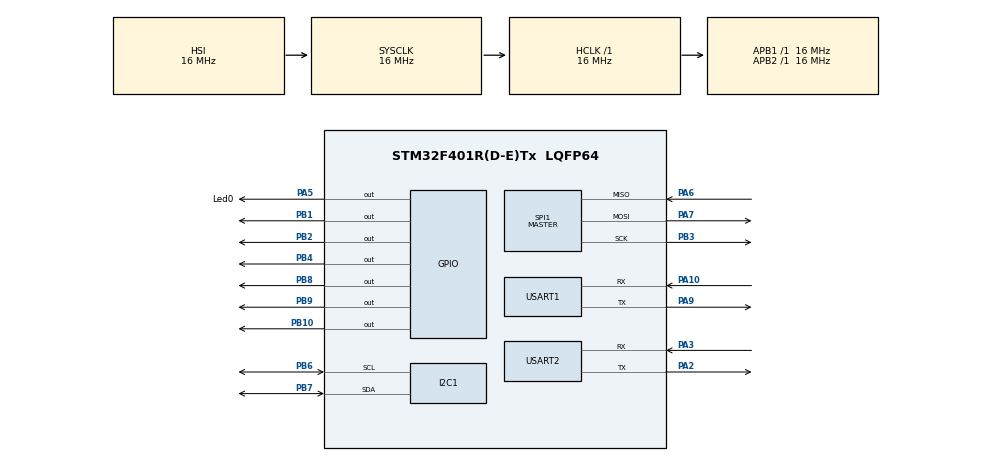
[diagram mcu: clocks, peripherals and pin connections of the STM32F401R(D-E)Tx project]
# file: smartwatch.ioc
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FREERTOS.Mutexes01=Lvgl_Mutex,Dynamic,NULL,Available
FREERTOS.Queues01=myQueue01,16,uint16_t,0,Dynamic,NULL,NULL
FREERTOS.Tasks01=defaultTask,24,128,StartDefaultTask,Default,NULL,Dynamic,NULL,NULL;homeTask,8,512,StarthomeTask,Default,NULL,Dynamic,NULL,NULL;startTaskLvgl,8,1024,StartTaskLvgl,Default,NULL,Dynamic,NULL,NULL
FREERTOS.Timers01=myTimer01,Callback01,osTimerPeriodic,Default,NULL,Dynamic,NULL
Mcu.Family=STM32F4
Mcu.Name=STM32F401R(D-E)Tx
Mcu.Package=LQFP64
NVIC.PriorityGroup=NVIC_PRIORITYGROUP_4
PA10.Mode=Asynchronous
PA10.Signal=USART1_RX
PA13.Mode=Serial_Wire
PA13.Signal=SYS_JTMS-SWDIO
PA14.Mode=Serial_Wire
PA14.Signal=SYS_JTCK-SWCLK
PA2.Mode=Asynchronous
PA2.Signal=USART2_TX
PA3.Mode=Asynchronous
PA3.Signal=USART2_RX
PA5.GPIO_Label=Led0
PA5.Signal=GPIO_Output
PA6.Mode=Full_Duplex_Master
PA6.Signal=SPI1_MISO
PA7.Mode=Full_Duplex_Master
PA7.Signal=SPI1_MOSI
PA9.Mode=Asynchronous
PA9.Signal=USART1_TX
PB1.Signal=GPIO_Output
PB10.Signal=GPIO_Output
PB2.Signal=GPIO_Output
PB3.Mode=Full_Duplex_Master
PB3.Signal=SPI1_SCK
PB4.Signal=GPIO_Output
PB6.Mode=I2C
PB6.Signal=I2C1_SCL
PB7.Mode=I2C
PB7.Signal=I2C1_SDA
PB8.Signal=GPIO_Output
PB9.Signal=GPIO_Output
PH0\ -\ OSC_IN.Mode=HSE-External-Oscillator
PH0\ -\ OSC_IN.Signal=RCC_OSC_IN
PH1\ -\ OSC_OUT.Mode=HSE-External-Oscillator
PH1\ -\ OSC_OUT.Signal=RCC_OSC_OUT
ProjectManager.HeapSize=0x200
ProjectManager.StackSize=0x400
ProjectManager.TargetToolchain=STM32CubeIDE
RCC.AHBFreq_Value=16000000
RCC.APB1Freq_Value=16000000
RCC.APB2Freq_Value=16000000
RCC.CortexFreq_Value=16000000
RCC.HSE_VALUE=25000000
RCC.HSI_VALUE=16000000
RCC.LSE_VALUE=32768
RCC.SYSCLKFreq_VALUE=16000000
RCC.VCOOutputFreq_Value=192000000
SPI1.Direction=SPI_DIRECTION_2LINES
SPI1.Mode=SPI_MODE_MASTER
SPI1.VirtualType=VM_MASTER
USART1.VirtualMode=VM_ASYNC
USART2.VirtualMode=VM_ASYNC
VP_FREERTOS_VS_CMSIS_V2.Mode=CMSIS_V2
VP_RTC_VS_RTC_Activate.Mode=RTC_Enabled
board=custom

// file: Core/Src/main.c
/* USER CODE BEGIN Header */
/**
  ******************************************************************************
  * @file           : main.c
  * @brief          : Main program body
  ******************************************************************************
  * @attention
  *
  * Copyright (c) 2026 STMicroelectronics.
  * All rights reserved.
  *
  * This software is licensed under terms that can be found in the LICENSE file
  * in the root directory of this software component.
  * If no LICENSE file comes with this software, it is provided AS-IS.
  *
  ******************************************************************************
  */
/* USER CODE END Header */
#include "main.h"
#include "cmsis_os.h"

/* USER CODE BEGIN Includes */
#include "lvgl.h"
#include "lv_port_disp.h"
#include "lv_port_indev.h"
#include <stdio.h>
/* USER CODE END Includes */

I2C_HandleTypeDef hi2c1;

RTC_HandleTypeDef hrtc;

SPI_HandleTypeDef hspi1;

UART_HandleTypeDef huart1;
UART_HandleTypeDef huart2;

/* Definitions for defaultTask */
osThreadId_t defaultTaskHandle;
const osThreadAttr_t defaultTask_attributes = {
  .name = "defaultTask",
  .stack_size = 128 * 4,
  .priority = (osPriority_t) osPriorityNormal,
};
/* Definitions for homeTask */
osThreadId_t homeTaskHandle;
const osThreadAttr_t homeTask_attributes = {
  .name = "homeTask",
  .stack_size = 512 * 4,
  .priority = (osPriority_t) osPriorityLow,
};
/* Definitions for startTaskLvgl */
osThreadId_t startTaskLvglHandle;
const osThreadAttr_t startTaskLvgl_attributes = {
  .name = "startTaskLvgl",
  .stack_size = 1024 * 4,
  .priority = (osPriority_t) osPriorityLow,
};
/* Definitions for myQueue01 */
osMessageQueueId_t myQueue01Handle;
const osMessageQueueAttr_t myQueue01_attributes = {
  .name = "myQueue01"
};
/* Definitions for myTimer01 */
osTimerId_t myTimer01Handle;
const osTimerAttr_t myTimer01_attributes = {
  .name = "myTimer01"
};
/* Definitions for Lvgl_Mutex */
osMutexId_t Lvgl_MutexHandle;
const osMutexAttr_t Lvgl_Mutex_attributes = {
  .name = "Lvgl_Mutex"
};
lv_obj_t * scr_home;
lv_obj_t * scr_sec;

void SystemClock_Config(void);
static void MX_GPIO_Init(void);
static void MX_I2C1_Init(void);
static void MX_SPI1_Init(void);
static void MX_USART1_UART_Init(void);
static void MX_USART2_UART_Init(void);
static void MX_RTC_Init(void);
void gesture_handler(lv_event_t * e);
void StartDefaultTask(void *argument);
void StarthomeTask(void *argument);
void StartTaskLvgl(void *argument);
void Callback01(void *argument);

/* USER CODE BEGIN 0 */
void gesture_handler(lv_event_t * e)
{
  lv_obj_t * screen = lv_event_get_current_target(e);
  lv_dir_t dir = lv_indev_get_gesture_dir(lv_indev_get_act());
  switch(dir) {
    case LV_DIR_LEFT:
    	if(screen==scr_home){
    		lv_scr_load(scr_sec);
    	}
    	if(screen==scr_sec){
    		lv_scr_load(scr_home);
    	}
    	break;
    case LV_DIR_RIGHT:
    	if(screen==scr_home){
    		lv_scr_load(scr_sec);
    	}
    	if(screen==scr_sec){
    		lv_scr_load(scr_home);
    	}
    	break;
    case LV_DIR_TOP:
    	break;
    case LV_DIR_BOTTOM:
    	break;
  }
}
/* USER CODE END 0 */

int main(void)
{

  /* MCU Configuration--------------------------------------------------------*/

  /* Reset of all peripherals, Initializes the Flash interface and the Systick. */
  HAL_Init();

  /* Configure the system clock */
  SystemClock_Config();

  /* Initialize all configured peripherals */
  MX_GPIO_Init();
  MX_I2C1_Init();
  MX_SPI1_Init();
  MX_USART1_UART_Init();
  MX_USART2_UART_Init();
  MX_RTC_Init();
  /* USER CODE BEGIN 2 */
  HAL_GPIO_WritePin(GPIOB, GPIO_PIN_8, GPIO_PIN_SET);
  /* USER CODE END 2 */

  /* Init scheduler */
  osKernelInitialize();
  /* Create the mutex(es) */
  /* creation of Lvgl_Mutex */
  Lvgl_MutexHandle = osMutexNew(&Lvgl_Mutex_attributes);

  /* Create the timer(s) */
  /* creation of myTimer01 */
  myTimer01Handle = osTimerNew(Callback01, osTimerPeriodic, NULL, &myTimer01_attributes);

  /* Create the queue(s) */
  /* creation of myQueue01 */
  myQueue01Handle = osMessageQueueNew (16, sizeof(char)*32, &myQueue01_attributes);

  /* Create the thread(s) */
  /* creation of defaultTask */
  defaultTaskHandle = osThreadNew(StartDefaultTask, NULL, &defaultTask_attributes);

  /* creation of homeTask */
  homeTaskHandle = osThreadNew(StarthomeTask, NULL, &homeTask_attributes);

  /* creation of startTaskLvgl */
  startTaskLvglHandle = osThreadNew(StartTaskLvgl, NULL, &startTaskLvgl_attributes);

  /* USER CODE BEGIN RTOS_EVENTS */
  // 启动定时器 500ms 触发一次
  osTimerStart(myTimer01Handle, 500);

  // LVGL 初始化
  lv_init();
  lv_port_disp_init();
  lv_port_indev_init();
  /* USER CODE END RTOS_EVENTS */

  /* Start scheduler */
  osKernelStart();

  scr_home = lv_scr_act();
    lv_obj_t * clock_label = lv_label_create(scr_home);
    lv_obj_set_style_text_font(clock_label, &lv_font_montserrat_24, 0);
    lv_label_set_text(clock_label, "INIT...");
    lv_obj_align(clock_label, LV_ALIGN_CENTER, 0, 0);

    scr_sec = lv_obj_create(NULL);
    lv_obj_t *lab_sec = lv_label_create(scr_sec);
    lv_label_set_text(lab_sec, "Second\nSecond PAGE");
    lv_obj_center(lab_sec);
    /*lv_obj_clear_flag(scr_home,LV_OBJ_FLAG_GESTURE_BUBBLE);
    lv_obj_add_flag(scr_home,LV_OBJ_FLAG_CLICKABLE);*/
    lv_obj_add_event_cb(scr_home, gesture_handler, LV_EVENT_GESTURE, NULL);
    lv_obj_add_event_cb(scr_sec, gesture_handler, LV_EVENT_GESTURE, NULL);
    //lv_scr_load(scr_sec);

  /* We should never get here as control is now taken by the scheduler */

  /* Infinite loop */
  while (1)
  {
	  RTC_TimeTypeDef sTime;
	    RTC_DateTypeDef sDate;

	  HAL_RTC_GetTime(&hrtc, &sTime, RTC_FORMAT_BIN);
	   HAL_RTC_GetDate(&hrtc, &sDate, RTC_FORMAT_BIN);
	   char buf[32];
	   sprintf(buf, "%02d:%02d:%02d", sTime.Hours, sTime.Minutes, sTime.Seconds);
	  lv_label_set_text(clock_label, buf);
	  lv_task_handler();
	  osDelay(10);

  }
}

void SystemClock_Config(void)
{
  RCC_OscInitTypeDef RCC_OscInitStruct = {0};
  RCC_ClkInitTypeDef RCC_ClkInitStruct = {0};

  /** Configure the main internal regulator output voltage
  */
  __HAL_RCC_PWR_CLK_ENABLE();
  __HAL_PWR_VOLTAGESCALING_CONFIG(PWR_REGULATOR_VOLTAGE_SCALE2);

  /** Initializes the RCC Oscillators according to the specified parameters
  * in the RCC_OscInitTypeDef structure.
  */
  RCC_OscInitStruct.OscillatorType = RCC_OSCILLATORTYPE_HSI|RCC_OSCILLATORTYPE_LSI;
  RCC_OscInitStruct.HSIState = RCC_HSI_ON;
  RCC_OscInitStruct.HSICalibrationValue = RCC_HSICALIBRATION_DEFAULT;
  RCC_OscInitStruct.LSIState = RCC_LSI_ON;
  RCC_OscInitStruct.PLL.PLLState = RCC_PLL_NONE;
  if (HAL_RCC_OscConfig(&RCC_OscInitStruct) != HAL_OK)
  {
    Error_Handler();
  }

  /** Initializes the CPU, AHB and APB buses clocks
  */
  RCC_ClkInitStruct.ClockType = RCC_CLOCKTYPE_HCLK|RCC_CLOCKTYPE_SYSCLK
                              |RCC_CLOCKTYPE_PCLK1|RCC_CLOCKTYPE_PCLK2;
  RCC_ClkInitStruct.SYSCLKSource = RCC_SYSCLKSOURCE_HSI;
  RCC_ClkInitStruct.AHBCLKDivider = RCC_SYSCLK_DIV1;
  RCC_ClkInitStruct.APB1CLKDivider = RCC_HCLK_DIV1;
  RCC_ClkInitStruct.APB2CLKDivider = RCC_HCLK_DIV1;

  if (HAL_RCC_ClockConfig(&RCC_ClkInitStruct, FLASH_LATENCY_0) != HAL_OK)
  {
    Error_Handler();
  }
}

static void MX_I2C1_Init(void)
{

  hi2c1.Instance = I2C1;
  hi2c1.Init.ClockSpeed = 100000;
  hi2c1.Init.DutyCycle = I2C_DUTYCYCLE_2;
  hi2c1.Init.OwnAddress1 = 0;
  hi2c1.Init.AddressingMode = I2C_ADDRESSINGMODE_7BIT;
  hi2c1.Init.DualAddressMode = I2C_DUALADDRESS_DISABLE;
  hi2c1.Init.OwnAddress2 = 0;
  hi2c1.Init.GeneralCallMode = I2C_GENERALCALL_DISABLE;
  hi2c1.Init.NoStretchMode = I2C_NOSTRETCH_DISABLE;
  if (HAL_I2C_Init(&hi2c1) != HAL_OK)
  {
    Error_Handler();
  }

}

static void MX_RTC_Init(void)
{

  /** Initialize RTC Only
  */
  hrtc.Instance = RTC;
  hrtc.Init.HourFormat = RTC_HOURFORMAT_24;
  hrtc.Init.AsynchPrediv = 127;
  hrtc.Init.SynchPrediv = 255;
  hrtc.Init.OutPut = RTC_OUTPUT_DISABLE;
  hrtc.Init.OutPutPolarity = RTC_OUTPUT_POLARITY_HIGH;
  hrtc.Init.OutPutType = RTC_OUTPUT_TYPE_OPENDRAIN;
  if (HAL_RTC_Init(&hrtc) != HAL_OK)
  {
    Error_Handler();
  }

}

static void MX_SPI1_Init(void)
{

  /* SPI1 parameter configuration*/
  hspi1.Instance = SPI1;
  hspi1.Init.Mode = SPI_MODE_MASTER;
  hspi1.Init.Direction = SPI_DIRECTION_2LINES;
  hspi1.Init.DataSize = SPI_DATASIZE_8BIT;
  hspi1.Init.CLKPolarity = SPI_POLARITY_LOW;
  hspi1.Init.CLKPhase = SPI_PHASE_1EDGE;
  hspi1.Init.NSS = SPI_NSS_SOFT;
  hspi1.Init.BaudRatePrescaler = SPI_BAUDRATEPRESCALER_2;
  hspi1.Init.FirstBit = SPI_FIRSTBIT_MSB;
  hspi1.Init.TIMode = SPI_TIMODE_DISABLE;
  hspi1.Init.CRCCalculation = SPI_CRCCALCULATION_DISABLE;
  hspi1.Init.CRCPolynomial = 10;
  if (HAL_SPI_Init(&hspi1) != HAL_OK)
  {
    Error_Handler();
  }

}

static void MX_USART1_UART_Init(void)
{

  huart1.Instance = USART1;
  huart1.Init.BaudRate = 115200;
  huart1.Init.WordLength = UART_WORDLENGTH_8B;
  huart1.Init.StopBits = UART_STOPBITS_1;
  huart1.Init.Parity = UART_PARITY_NONE;
  huart1.Init.Mode = UART_MODE_TX_RX;
  huart1.Init.HwFlowCtl = UART_HWCONTROL_NONE;
  huart1.Init.OverSampling = UART_OVERSAMPLING_16;
  if (HAL_UART_Init(&huart1) != HAL_OK)
  {
    Error_Handler();
  }

}

static void MX_USART2_UART_Init(void)
{

  huart2.Instance = USART2;
  huart2.Init.BaudRate = 115200;
  huart2.Init.WordLength = UART_WORDLENGTH_8B;
  huart2.Init.StopBits = UART_STOPBITS_1;
  huart2.Init.Parity = UART_PARITY_NONE;
  huart2.Init.Mode = UART_MODE_TX_RX;
  huart2.Init.HwFlowCtl = UART_HWCONTROL_NONE;
  huart2.Init.OverSampling = UART_OVERSAMPLING_16;
  if (HAL_UART_Init(&huart2) != HAL_OK)
  {
    Error_Handler();
  }

}

static void MX_GPIO_Init(void)
{
  GPIO_InitTypeDef GPIO_InitStruct = {0};

  /* GPIO Ports Clock Enable */
  __HAL_RCC_GPIOH_CLK_ENABLE();
  __HAL_RCC_GPIOA_CLK_ENABLE();
  __HAL_RCC_GPIOB_CLK_ENABLE();

  /*Configure GPIO pin Output Level */
  HAL_GPIO_WritePin(Led0_GPIO_Port, Led0_Pin, GPIO_PIN_RESET);

  /*Configure GPIO pin Output Level */
  HAL_GPIO_WritePin(GPIOB, GPIO_PIN_1|GPIO_PIN_2|GPIO_PIN_10|GPIO_PIN_4
                          |GPIO_PIN_8|GPIO_PIN_9, GPIO_PIN_RESET);

  /*Configure GPIO pin : Led0_Pin */
  GPIO_InitStruct.Pin = Led0_Pin;
  GPIO_InitStruct.Mode = GPIO_MODE_OUTPUT_PP;
  GPIO_InitStruct.Pull = GPIO_NOPULL;
  GPIO_InitStruct.Speed = GPIO_SPEED_FREQ_LOW;
  HAL_GPIO_Init(Led0_GPIO_Port, &GPIO_InitStruct);

  /*Configure GPIO pins : PB1 PB2 PB10 PB4
                           PB8 PB9 */
  GPIO_InitStruct.Pin = GPIO_PIN_1|GPIO_PIN_2|GPIO_PIN_10|GPIO_PIN_4
                          |GPIO_PIN_8|GPIO_PIN_9;
  GPIO_InitStruct.Mode = GPIO_MODE_OUTPUT_PP;
  GPIO_InitStruct.Pull = GPIO_NOPULL;
  GPIO_InitStruct.Speed = GPIO_SPEED_FREQ_LOW;
  HAL_GPIO_Init(GPIOB, &GPIO_InitStruct);

}

void StartDefaultTask(void *argument)
{
  for(;;)
  {
    osDelay(1);
  }
}

void StarthomeTask(void *argument)
{
  /* USER CODE BEGIN StarthomeTask */
  // 创建表盘界面
  scr_home = lv_scr_act();
  lv_obj_t * clock_label = lv_label_create(scr_home);
  lv_obj_set_style_text_font(clock_label, &lv_font_montserrat_24, 0);
  lv_label_set_text(clock_label, "INIT...");
  lv_obj_align(clock_label, LV_ALIGN_CENTER, 0, 0);

  scr_sec = lv_obj_create(NULL);
  lv_obj_t *lab_sec = lv_label_create(scr_sec);
  lv_label_set_text(lab_sec, "Second\nSecond PAGE");
  lv_obj_center(lab_sec);
  /*lv_obj_clear_flag(scr_home,LV_OBJ_FLAG_GESTURE_BUBBLE);
  lv_obj_add_flag(scr_home,LV_OBJ_FLAG_CLICKABLE);*/
  lv_obj_add_event_cb(scr_home, gesture_handler, LV_EVENT_GESTURE, NULL);
  lv_obj_add_event_cb(scr_sec, gesture_handler, LV_EVENT_GESTURE, NULL);

  char time_buf[32];

  for (;;)
  {
    // 从队列读取时间字符串
    osMessageQueueGet(myQueue01Handle, time_buf, NULL, osWaitForever);

    // 更新屏幕显示
    lv_label_set_text(clock_label, time_buf);
    osDelay(50);
  }
  /* USER CODE END StarthomeTask */
}

void StartTaskLvgl(void *argument)
{
  /* USER CODE BEGIN StartTaskLvgl */
  for(;;)
  {
    // LVGL 线程安全处理
    osMutexAcquire(Lvgl_MutexHandle, osWaitForever);
    lv_task_handler();
    osMutexRelease(Lvgl_MutexHandle);
    osDelay(10);
  }
  /* USER CODE END StartTaskLvgl */
}

/* Callback01 function */
void Callback01(void *argument)
{
  /* USER CODE BEGIN Callback01 */
  RTC_TimeTypeDef sTime;
  RTC_DateTypeDef sDate;

  // 读取 RTC 时间
  HAL_RTC_GetTime(&hrtc, &sTime, RTC_FORMAT_BIN);
  HAL_RTC_GetDate(&hrtc, &sDate, RTC_FORMAT_BIN);

  // 格式化时间字符串
  char buf[32];
  sprintf(buf, "%02d:%02d:%02d", sTime.Hours, sTime.Minutes, sTime.Seconds);

  // 发送到队列
  osMessageQueuePut(myQueue01Handle, buf, 0, osWaitForever);
  /* USER CODE END Callback01 */
}

void Error_Handler(void)
{
  __disable_irq();
  while (1)
  {
  }
}
